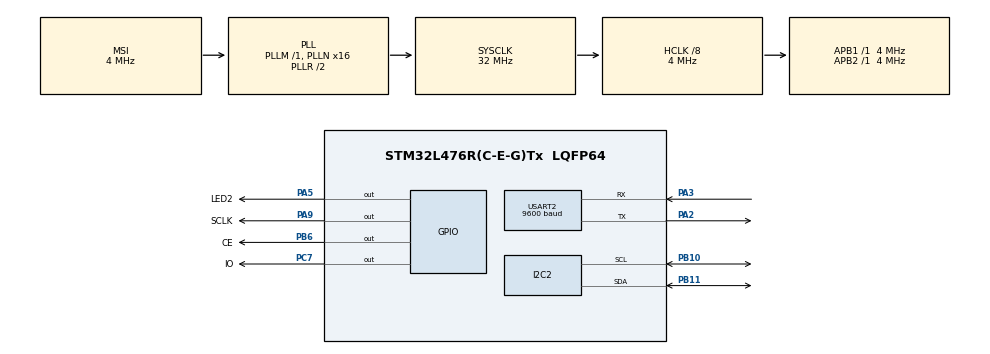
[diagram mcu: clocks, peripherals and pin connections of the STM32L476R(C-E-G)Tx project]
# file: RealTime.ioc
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Dma.Request0=USART2_RX
Dma.USART2_RX.0.Direction=DMA_PERIPH_TO_MEMORY
Dma.USART2_RX.0.Instance=DMA1_Channel6
Dma.USART2_RX.0.MemDataAlignment=DMA_MDATAALIGN_BYTE
Dma.USART2_RX.0.MemInc=DMA_MINC_ENABLE
Dma.USART2_RX.0.Mode=DMA_NORMAL
Dma.USART2_RX.0.PeriphDataAlignment=DMA_PDATAALIGN_BYTE
Dma.USART2_RX.0.PeriphInc=DMA_PINC_DISABLE
Dma.USART2_RX.0.Priority=DMA_PRIORITY_LOW
Mcu.Family=STM32L4
Mcu.Name=STM32L476R(C-E-G)Tx
Mcu.Package=LQFP64
NVIC.DMA1_Channel6_IRQn=true\:0\:0\:false\:false\:true\:false\:true
NVIC.PriorityGroup=NVIC_PRIORITYGROUP_4
NVIC.USART2_IRQn=true\:0\:0\:false\:false\:true\:true\:true
PA2.Mode=Asynchronous
PA2.Signal=USART2_TX
PA3.Mode=Asynchronous
PA3.Signal=USART2_RX
PA5.GPIO_Label=LED2
PA5.Signal=GPIO_Output
PA9.GPIO_Label=SCLK
PA9.Signal=GPIO_Output
PB10.Mode=I2C
PB10.Signal=I2C2_SCL
PB11.Mode=I2C
PB11.Signal=I2C2_SDA
PB6.GPIO_Label=CE
PB6.Signal=GPIO_Output
PC7.GPIO_Label=IO
PC7.Signal=GPIO_Output
ProjectManager.HeapSize=0x200
ProjectManager.StackSize=0x400
ProjectManager.TargetToolchain=MDK-ARM V5.27
RCC.ADCFreq_Value=12000000
RCC.AHBCLKDivider=RCC_SYSCLK_DIV8
RCC.AHBFreq_Value=4000000
RCC.APB1Freq_Value=4000000
RCC.APB1TimFreq_Value=4000000
RCC.APB2Freq_Value=4000000
RCC.APB2TimFreq_Value=4000000
RCC.CortexFreq_Value=4000000
RCC.HCLKFreq_Value=4000000
RCC.HSE_VALUE=8000000
RCC.HSI_VALUE=16000000
RCC.LSE_VALUE=32768
RCC.MSI_VALUE=4000000
RCC.PLLN=16
RCC.PLLSAI1N=18
RCC.PLLSAI1R=RCC_PLLR_DIV6
RCC.SYSCLKFreq_VALUE=32000000
RCC.SYSCLKSource=RCC_SYSCLKSOURCE_PLLCLK
RCC.USBFreq_Value=36000000
RCC.VCOOutputFreq_Value=64000000
TIM7.Prescaler=3
USART2.BaudRate=9600
USART2.VirtualMode-Asynchronous=VM_ASYNC
VP_TIM7_VS_ClockSourceINT.Mode=Enable_Timer
board=custom

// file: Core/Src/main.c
/* USER CODE BEGIN Header */
/**
  ******************************************************************************
  * @file           : main.c
  * @brief          : Main program body
  ******************************************************************************
  * @attention
  *
  * <h2><center>&copy; Copyright (c) 2021 STMicroelectronics.
  * All rights reserved.</center></h2>
  *
  * This software component is licensed by ST under BSD 3-Clause license,
  * the "License"; You may not use this file except in compliance with the
  * License. You may obtain a copy of the License at:
  *                        opensource.org/licenses/BSD-3-Clause
  *
  ******************************************************************************
  */
/* USER CODE END Header */
#include "main.h"

/* USER CODE BEGIN Includes */
#include <stdio.h>
#include <string.h>
#include <stdlib.h>
#include "LCD1602I2C.h"
#include "DS1302.h"
/* USER CODE END Includes */

/* USER CODE BEGIN PM */
#define RECEIVE_SIZE  22
/* USER CODE END PM */

I2C_HandleTypeDef hi2c2;

TIM_HandleTypeDef htim7;

UART_HandleTypeDef huart2;
DMA_HandleTypeDef hdma_usart2_rx;

/* USER CODE BEGIN PV */
uint8_t arrive_flag = 0;
/* USER CODE END PV */

void SystemClock_Config(void);
static void MX_GPIO_Init(void);
static void MX_DMA_Init(void);
static void MX_USART2_UART_Init(void);
static void MX_TIM7_Init(void);
static void MX_I2C2_Init(void);
/* USER CODE BEGIN PFP */
void Delay_Us(uint16_t wait);
/* USER CODE END PFP */

int main(void)
{

  /* MCU Configuration--------------------------------------------------------*/

  /* Reset of all peripherals, Initializes the Flash interface and the Systick. */
  HAL_Init();

  /* Configure the system clock */
  SystemClock_Config();

  /* Initialize all configured peripherals */
  MX_GPIO_Init();
  MX_DMA_Init();
  MX_USART2_UART_Init();
  MX_TIM7_Init();
  MX_I2C2_Init();
  /* USER CODE BEGIN 2 */
  Time now;
  int previous_s=0;
  uint8_t msg[50];
  uint8_t receive[RECEIVE_SIZE];
  char delimiter[2] = {'-', '\0'};
  char *token;

  LCD1602I2C_Init();
  LCD1602I2C_Clear();
  DS1302_Init();
  HAL_UART_Receive_DMA(&huart2, receive, RECEIVE_SIZE);

  /* USER CODE END 2 */

  /* Infinite loop */
  /* USER CODE BEGIN WHILE */
  while (1)
  {
    if(arrive_flag){
      //sprintf((char*)msg, "%s\r\n", receive);
      //HAL_UART_Transmit(&huart2, msg, sizeof(msg), HAL_MAX_DELAY);

      //receive message = year-month-day-week-hour-minute-second
      //correct now time
      token = strtok((char*)receive, delimiter);
      DS1302_SetTime(DS1302_YEAR, atoi(token)-2000); //year from 2000

      token = strtok(NULL, delimiter);
      DS1302_SetTime(DS1302_MONTH, atoi(token));

      token = strtok(NULL, delimiter);
      DS1302_SetTime(DS1302_DAY, atoi(token));

      token = strtok(NULL, delimiter);
      DS1302_SetTime(DS1302_WEEK, (atoi(token)%7)+1); //1=Sunday 2=Monday

      token = strtok(NULL, delimiter);
      DS1302_SetTime(DS1302_HOUR, atoi(token)&(~0x80)); //low MSB bit to select 24-hour mode

      token = strtok(NULL, delimiter);
      DS1302_SetTime(DS1302_MINUTE, atoi(token));

      token = strtok(NULL, delimiter);
      DS1302_SetTime(DS1302_SECOND, atoi(token)&(~0x80)); //high CH to open oscillator

      arrive_flag = 0;
      HAL_UART_Receive_DMA(&huart2, receive, RECEIVE_SIZE);
    }
    DS1302_Burst_GetTime(&now);
    if(now.second != previous_s){
      /*
      sprintf((char*)msg, "20%d/%02d/%02d %s %02d:%02d:%02d\r\n",
              now.year, now.month, now.day, now.week, now.hour, now.minute, now.second);
      HAL_UART_Transmit(&huart2, msg, sizeof(msg), HAL_MAX_DELAY);
      */
      LCD1602I2C_Cursor(0, 0);
      sprintf((char*)msg, "20%d/%02d/%02d%6s", now.year, now.month, now.day, now.week);
      LCD1602I2C_SendString((char*)msg);

      LCD1602I2C_Cursor(1, 0);
      sprintf((char*)msg, "%02d:%02d:%02d", now.hour, now.minute, now.second);
      LCD1602I2C_SendString((char*)msg);

      previous_s = now.second;
    }
    /* USER CODE END WHILE */

  }
}

void SystemClock_Config(void)
{
  RCC_OscInitTypeDef RCC_OscInitStruct = {0};
  RCC_ClkInitTypeDef RCC_ClkInitStruct = {0};
  RCC_PeriphCLKInitTypeDef PeriphClkInit = {0};

  /** Initializes the RCC Oscillators according to the specified parameters
  * in the RCC_OscInitTypeDef structure.
  */
  RCC_OscInitStruct.OscillatorType = RCC_OSCILLATORTYPE_MSI;
  RCC_OscInitStruct.MSIState = RCC_MSI_ON;
  RCC_OscInitStruct.MSICalibrationValue = 0;
  RCC_OscInitStruct.MSIClockRange = RCC_MSIRANGE_6;
  RCC_OscInitStruct.PLL.PLLState = RCC_PLL_ON;
  RCC_OscInitStruct.PLL.PLLSource = RCC_PLLSOURCE_MSI;
  RCC_OscInitStruct.PLL.PLLM = 1;
  RCC_OscInitStruct.PLL.PLLN = 16;
  RCC_OscInitStruct.PLL.PLLP = RCC_PLLP_DIV7;
  RCC_OscInitStruct.PLL.PLLQ = RCC_PLLQ_DIV2;
  RCC_OscInitStruct.PLL.PLLR = RCC_PLLR_DIV2;
  if (HAL_RCC_OscConfig(&RCC_OscInitStruct) != HAL_OK)
  {
    Error_Handler();
  }
  /** Initializes the CPU, AHB and APB buses clocks
  */
  RCC_ClkInitStruct.ClockType = RCC_CLOCKTYPE_HCLK|RCC_CLOCKTYPE_SYSCLK
                              |RCC_CLOCKTYPE_PCLK1|RCC_CLOCKTYPE_PCLK2;
  RCC_ClkInitStruct.SYSCLKSource = RCC_SYSCLKSOURCE_PLLCLK;
  RCC_ClkInitStruct.AHBCLKDivider = RCC_SYSCLK_DIV8;
  RCC_ClkInitStruct.APB1CLKDivider = RCC_HCLK_DIV1;
  RCC_ClkInitStruct.APB2CLKDivider = RCC_HCLK_DIV1;

  if (HAL_RCC_ClockConfig(&RCC_ClkInitStruct, FLASH_LATENCY_0) != HAL_OK)
  {
    Error_Handler();
  }
  PeriphClkInit.PeriphClockSelection = RCC_PERIPHCLK_USART2|RCC_PERIPHCLK_I2C2;
  PeriphClkInit.Usart2ClockSelection = RCC_USART2CLKSOURCE_PCLK1;
  PeriphClkInit.I2c2ClockSelection = RCC_I2C2CLKSOURCE_PCLK1;
  if (HAL_RCCEx_PeriphCLKConfig(&PeriphClkInit) != HAL_OK)
  {
    Error_Handler();
  }
  /** Configure the main internal regulator output voltage
  */
  if (HAL_PWREx_ControlVoltageScaling(PWR_REGULATOR_VOLTAGE_SCALE1) != HAL_OK)
  {
    Error_Handler();
  }
}

static void MX_I2C2_Init(void)
{

  hi2c2.Instance = I2C2;
  hi2c2.Init.Timing = 0x00000E14;
  hi2c2.Init.OwnAddress1 = 0;
  hi2c2.Init.AddressingMode = I2C_ADDRESSINGMODE_7BIT;
  hi2c2.Init.DualAddressMode = I2C_DUALADDRESS_DISABLE;
  hi2c2.Init.OwnAddress2 = 0;
  hi2c2.Init.OwnAddress2Masks = I2C_OA2_NOMASK;
  hi2c2.Init.GeneralCallMode = I2C_GENERALCALL_DISABLE;
  hi2c2.Init.NoStretchMode = I2C_NOSTRETCH_DISABLE;
  if (HAL_I2C_Init(&hi2c2) != HAL_OK)
  {
    Error_Handler();
  }
  /** Configure Analogue filter
  */
  if (HAL_I2CEx_ConfigAnalogFilter(&hi2c2, I2C_ANALOGFILTER_ENABLE) != HAL_OK)
  {
    Error_Handler();
  }
  /** Configure Digital filter
  */
  if (HAL_I2CEx_ConfigDigitalFilter(&hi2c2, 0) != HAL_OK)
  {
    Error_Handler();
  }

}

static void MX_TIM7_Init(void)
{

  TIM_MasterConfigTypeDef sMasterConfig = {0};

  htim7.Instance = TIM7;
  htim7.Init.Prescaler = 3;
  htim7.Init.CounterMode = TIM_COUNTERMODE_UP;
  htim7.Init.Period = 65535;
  htim7.Init.AutoReloadPreload = TIM_AUTORELOAD_PRELOAD_DISABLE;
  if (HAL_TIM_Base_Init(&htim7) != HAL_OK)
  {
    Error_Handler();
  }
  sMasterConfig.MasterOutputTrigger = TIM_TRGO_RESET;
  sMasterConfig.MasterSlaveMode = TIM_MASTERSLAVEMODE_DISABLE;
  if (HAL_TIMEx_MasterConfigSynchronization(&htim7, &sMasterConfig) != HAL_OK)
  {
    Error_Handler();
  }

}

static void MX_USART2_UART_Init(void)
{

  huart2.Instance = USART2;
  huart2.Init.BaudRate = 9600;
  huart2.Init.WordLength = UART_WORDLENGTH_8B;
  huart2.Init.StopBits = UART_STOPBITS_1;
  huart2.Init.Parity = UART_PARITY_NONE;
  huart2.Init.Mode = UART_MODE_TX_RX;
  huart2.Init.HwFlowCtl = UART_HWCONTROL_NONE;
  huart2.Init.OverSampling = UART_OVERSAMPLING_16;
  huart2.Init.OneBitSampling = UART_ONE_BIT_SAMPLE_DISABLE;
  huart2.AdvancedInit.AdvFeatureInit = UART_ADVFEATURE_NO_INIT;
  if (HAL_UART_Init(&huart2) != HAL_OK)
  {
    Error_Handler();
  }

}

static void MX_DMA_Init(void)
{

  /* DMA controller clock enable */
  __HAL_RCC_DMA1_CLK_ENABLE();

  /* DMA interrupt init */
  /* DMA1_Channel6_IRQn interrupt configuration */
  HAL_NVIC_SetPriority(DMA1_Channel6_IRQn, 0, 0);
  HAL_NVIC_EnableIRQ(DMA1_Channel6_IRQn);

}

static void MX_GPIO_Init(void)
{
  GPIO_InitTypeDef GPIO_InitStruct = {0};

  /* GPIO Ports Clock Enable */
  __HAL_RCC_GPIOA_CLK_ENABLE();
  __HAL_RCC_GPIOB_CLK_ENABLE();
  __HAL_RCC_GPIOC_CLK_ENABLE();

  /*Configure GPIO pin Output Level */
  HAL_GPIO_WritePin(GPIOA, LED2_Pin|SCLK_Pin, GPIO_PIN_RESET);

  /*Configure GPIO pin Output Level */
  HAL_GPIO_WritePin(IO_GPIO_Port, IO_Pin, GPIO_PIN_RESET);

  /*Configure GPIO pin Output Level */
  HAL_GPIO_WritePin(CE_GPIO_Port, CE_Pin, GPIO_PIN_RESET);

  /*Configure GPIO pins : LED2_Pin SCLK_Pin */
  GPIO_InitStruct.Pin = LED2_Pin|SCLK_Pin;
  GPIO_InitStruct.Mode = GPIO_MODE_OUTPUT_PP;
  GPIO_InitStruct.Pull = GPIO_NOPULL;
  GPIO_InitStruct.Speed = GPIO_SPEED_FREQ_LOW;
  HAL_GPIO_Init(GPIOA, &GPIO_InitStruct);

  /*Configure GPIO pin : IO_Pin */
  GPIO_InitStruct.Pin = IO_Pin;
  GPIO_InitStruct.Mode = GPIO_MODE_OUTPUT_PP;
  GPIO_InitStruct.Pull = GPIO_NOPULL;
  GPIO_InitStruct.Speed = GPIO_SPEED_FREQ_LOW;
  HAL_GPIO_Init(IO_GPIO_Port, &GPIO_InitStruct);

  /*Configure GPIO pin : CE_Pin */
  GPIO_InitStruct.Pin = CE_Pin;
  GPIO_InitStruct.Mode = GPIO_MODE_OUTPUT_PP;
  GPIO_InitStruct.Pull = GPIO_NOPULL;
  GPIO_InitStruct.Speed = GPIO_SPEED_FREQ_LOW;
  HAL_GPIO_Init(CE_GPIO_Port, &GPIO_InitStruct);

}

/* USER CODE BEGIN 4 */
void Delay_Us(uint16_t wait){
  HAL_TIM_Base_Start(&htim7);
  __HAL_TIM_SET_COUNTER(&htim7,0);  // set the counter value a 0
  while(__HAL_TIM_GET_COUNTER(&htim7) < wait);
  HAL_TIM_Base_Stop(&htim7);
}

void HAL_UART_RxCpltCallback(UART_HandleTypeDef *huart){
  arrive_flag = 1; //correct time message is arrived
}
/* USER CODE END 4 */

void Error_Handler(void)
{
  __disable_irq();
  while (1)
  {
  }
}

/************************ (C) COPYRIGHT STMicroelectronics *****END OF FILE****/
